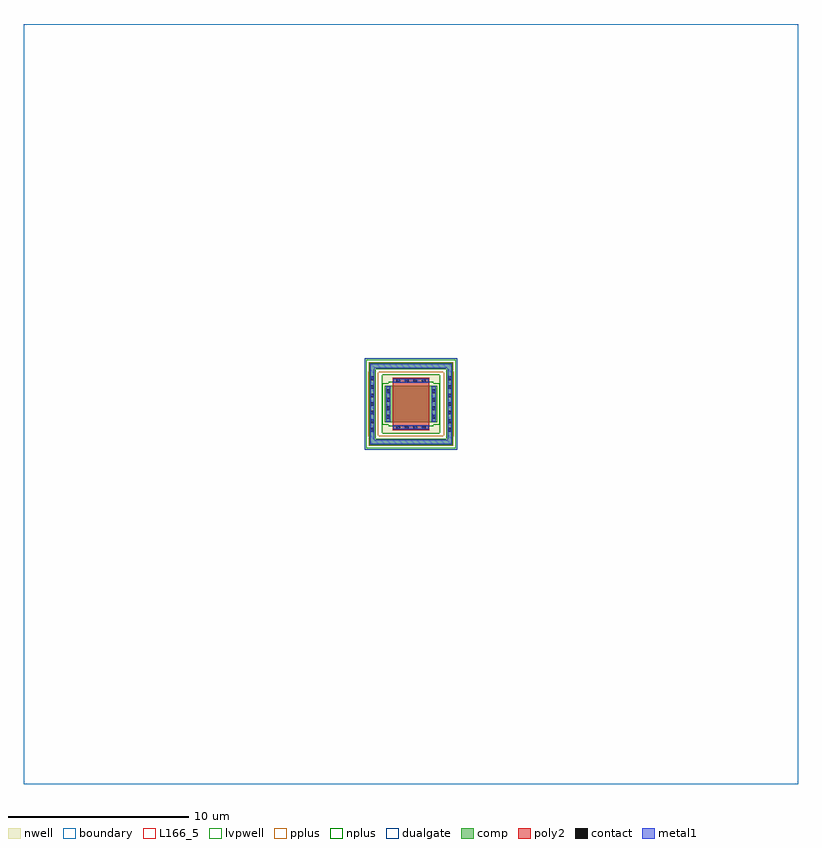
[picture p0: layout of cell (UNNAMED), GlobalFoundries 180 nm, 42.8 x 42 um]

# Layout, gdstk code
import gdstk
lib = gdstk.Library(unit=1e-6, precision=1e-09)
def R(c, l, rs):  # rectangles x0, y0, x1, y1
    for r in rs: c.add(gdstk.rectangle(r[:2], r[2:], *l))
def A(c, l, x, y, w, h, nx, ny, dx, dy):  # array of equal rectangles
    R(c, l, [(x+i*dx, y+j*dy, x+i*dx+w, y+j*dy+h) for i in range(nx) for j in range(ny)])
boundary = (0, 0)
nwell = (21, 0)
comp = (22, 0)
poly2 = (30, 0)
pplus = (31, 0)
nplus = (32, 0)
contact = (33, 0)
metal1 = (34, 0)
dualgate = (55, 0)
L166_5 = (166, 5)
lvpwell = (204, 0)

c__unnamed_ = lib.new_cell('(UNNAMED)')
R(c__unnamed_, boundary, [(-21.4,-21,21.4,21)])
R(c__unnamed_, nwell, [(-1.6,-1.62,1.6,1.62)])
R(c__unnamed_, comp, [(-2.32,-2.28,2.32,-1.92), (-2.32,-1.92,-1.96,1.92), (1.96,-1.92,2.32,1.92), (-1.44,-1,1.44,1), (-2.32,1.92,2.32,2.28)])
R(c__unnamed_, poly2, [(-1,-1.46,1,1.46)])
R(c__unnamed_, pplus, [(-2.34,-2.3,2.34,-1.795), (-2.35,-1.795,2.35,-1.76), (-2.35,-1.76,-1.8,1.76), (1.8,-1.76,2.35,1.76), (-2.35,1.76,2.35,1.795), (-2.34,1.795,2.34,2.3)])
R(c__unnamed_, nplus, [(-1.23,-1.23,1.23,-1.16), (-1.6,-1.16,1.6,1.16), (-1.23,1.16,1.23,1.23)])
A(c__unnamed_, contact, -2.25, -1.52, 0.22, 0.22, 1, 7, 0, 0.47)
A(c__unnamed_, contact, 2.03, -1.52, 0.22, 0.22, 1, 7, 0, 0.47)
A(c__unnamed_, contact, -0.815, -1.39, 0.22, 0.22, 4, 2, 0.47, 2.56)
A(c__unnamed_, contact, -1.37, -0.815, 0.22, 0.22, 1, 4, 0, 0.47)
A(c__unnamed_, contact, 1.15, -0.815, 0.22, 0.22, 1, 4, 0, 0.47)
R(c__unnamed_, metal1, [(-2.255,-2.215,2.255,-1.985), (-2.255,-1.985,-2.025,1.985), (2.025,-1.985,2.255,1.985), (-0.99,-1.395,0.99,-1.165), (-1.375,-0.99,-1.145,0.99), (1.145,-0.99,1.375,0.99), (-0.99,1.165,0.99,1.395), (-2.255,1.985,2.255,2.215)])
R(c__unnamed_, dualgate, [(-2.56,-2.52,2.56,2.52)])
R(c__unnamed_, L166_5, [(-1,-1,1,1)])
R(c__unnamed_, lvpwell, [(-2.48,-2.44,2.48,-1.62), (-2.48,-1.62,-1.6,1.62), (1.6,-1.62,2.48,1.62), (-2.48,1.62,2.48,2.44)])

lib.write_gds('_UNNAMED_.gds')
